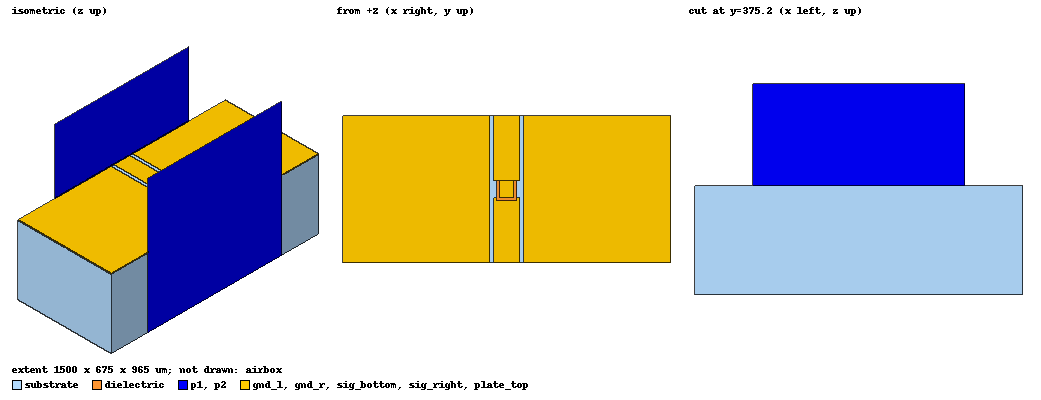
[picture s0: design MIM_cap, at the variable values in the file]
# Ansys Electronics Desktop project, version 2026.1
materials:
  vacuum: permittivity=1
  glass_sub: permittivity=5.3 dielectric_loss_tangent=0.005
  mim_diel: permittivity=9 dielectric_loss_tangent=0.01
  ehd_ag: conductivity=9000000

design MIM_cap (HFSS, HFSS Hybrid Modal Network, model units um)
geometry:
  substrate [glass_sub] = box(corner=(-750um, 0um, -500um), size=(1500um, 675um, 500um))
  dielectric [mim_diel] = box(corner=(-45um, 285um, 0um), size=(90um, 90um, 0.05um))
  sig_bottom = rectangle(corner=(-57.5um, 0um, 0um), x_size=115um, y_size=300um)
  plate_bot = rectangle(corner=(-30um, 300um, 0um), x_size=60um, y_size=60um)
  sig_bottom.unite(plate_bot)
  plate_top = rectangle(corner=(-30um, 300um, 0.05um), x_size=60um, y_size=75.5um)
  step [ehd_ag] = box(corner=(-30um, 375um, 0um), size=(60um, 0.5um, 0.05um))
  sig_right = rectangle(corner=(-57.5um, 375um, 0um), x_size=115um, y_size=300um)
  gnd_l = rectangle(corner=(-750um, 0um, 0um), x_size=672.5um, y_size=675um)
  gnd_r = rectangle(corner=(77.5um, 0um, 0um), x_size=672.5um, y_size=675um)
  airbox [vacuum] = box(corner=(-1750um, 0um, -1500um), size=(3500um, 675um, 2500um))
  p1 = rectangle(corner=(-482.5um, 0um, -500um), z_size=965um, x_size=965um)
  p2 = rectangle(corner=(-482.5um, 675um, -500um), z_size=965um, x_size=965um)
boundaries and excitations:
  EHD_Ag_sheet: Impedance Objects=[sig_bottom, plate_top, sig_right, gnd_l, gnd_r] Resistance=0.44 Reactance=0
  Rad1: Radiation Objects=airbox
  1: Wave Port Objects=p1 WavePortType=Default NumModes=1 DeembedDist=300um Modes{Mode1{IntLine{(77.5, 0, 0) -> (57.5, 0, 0)} CharImp=Zpi RenormImp=50ohm}}
  2: Wave Port Objects=p2 WavePortType=Default NumModes=1 DeembedDist=300um Modes{Mode1{IntLine{(77.5, 675, 0) -> (57.5, 675, 0)} CharImp=Zpi RenormImp=50ohm}}
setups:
  Setup1: HfssDriven Frequency=10GHz MaxDeltaS=0.01 MaximumPasses=20 MinimumPasses=3 MinimumConvergedPasses=2 PercentRefinement=30 BasisOrder=1 PortAccuracy=2 DrivenSolverType="Direct Solver"
    sweep Sweep: 0.1GHz to 20GHz, 400 points; Type=Interpolating InterpTolerance=0.5 InterpMaxSolns=250 InterpUsePortImped=false PassivityErrorTolerance=0.0001
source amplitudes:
  1:1: 1W 0deg
  2:1: 0W 0deg
